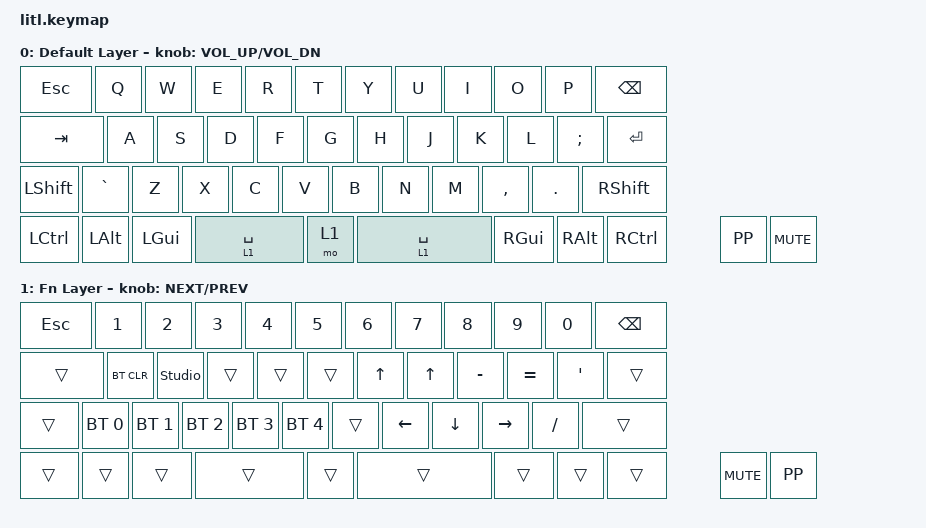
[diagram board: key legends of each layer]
#include <behaviors.dtsi>
#include <dt-bindings/zmk/keys.h>
#include <dt-bindings/zmk/bt.h>

/ {
    keymap0: keymap {
        compatible = "zmk,keymap";

        default_layer {
            display-name = "Default Layer";
            sensor-bindings = <&inc_dec_kp C_VOL_UP C_VOL_DN>;
/* ----------------------------------------------------------------------------
 | ESC  |  Q  |  W  |  E  |  R  |  T  |  Y  |  U  |  I  |  O  |  P  | BSPC  |
 | TAB  |  A  |  S  |  D  |  F  |  G  |  H  |  J  |  K  |  L  |  ;  |  ENT  |
 | SFT  | SLS |  Z  |  X  |  C  |  V  |  B  |  N  |  M  |  ,  |  .  |  SFT  |
 | CTL  | WIN | ALT |     L1       | MO1 |     L1     | ALT  |  WIN | CTL   | PLY | MUTE  | 
 ---------------------------------------------------------------------------- */
            bindings = <
    &kp ESC   &kp Q     &kp W    &kp E  &kp R        &kp T   &kp Y       &kp U    &kp I     &kp  O    &kp   P  &kp BSPC
    &kp TAB   &kp A     &kp S    &kp D  &kp F        &kp G   &kp H       &kp J    &kp K     &kp  L    &kp SEMI &kp RET
    &kp LSHFT &kp GRAVE &kp Z    &kp X  &kp C        &kp V   &kp B       &kp N    &kp M     &kp COMMA &kp DOT  &kp RSHFT
    &kp LCTRL &kp LALT  &kp LGUI        &lt 1 SPACE  &mo 1   &lt 1 SPACE &kp RGUI &kp RALT  &kp RCTRL &kp K_PP &kp K_MUTE
            >;
        };

        fn_layer {
            display-name = "Fn Layer";
            sensor-bindings = <&inc_dec_kp C_NEXT C_PREV>;
            bindings = <
    &kp ESC   &kp N1       &kp N2         &kp N3       &kp N4       &kp N5       &kp N6  &kp N7   &kp N8    &kp N9    &kp N0     &kp BSPC
    &trans    &bt BT_CLR   &studio_unlock &trans       &trans       &trans       &kp UP  &kp UP   &kp MINUS &kp EQUAL &kp APOS   &trans     
    &trans    &bt BT_SEL 0 &bt BT_SEL 1   &bt BT_SEL 2 &bt BT_SEL 3 &bt BT_SEL 4 &trans  &kp LEFT &kp DOWN  &kp RIGHT &kp FSLH   &trans  
    &trans    &trans       &trans                      &trans       &trans       &trans  &trans   &trans    &trans    &kp K_MUTE &kp K_PP  
            >;
        };

        extra1 {
            status="reserved";
        };

        extra2 {
            status="reserved";
        };
    };
};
